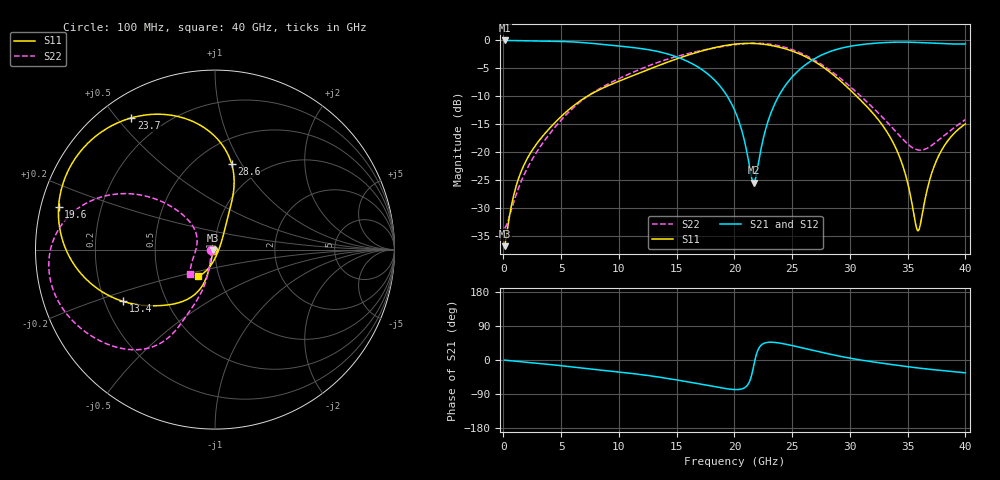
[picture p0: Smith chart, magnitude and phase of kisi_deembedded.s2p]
! B_s8_L1L3_stub_d300: kisi-fdtd, de-embedded with the 2×thru
# Hz S RI R 50
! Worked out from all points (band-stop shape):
!   400 points, 100 MHz to 40 GHz, reference 50 ohm
!   highest |S21| = -0.11 dB at 100 MHz (marker M1); lowest = -25.5 dB at 21.7 GHz (marker M2)
!   |S21| within 3 dB of the highest: start of sweep to 15.1 GHz; 27.16 GHz to end of sweep
!   lowest |S11| = -36.8 dB at 100 MHz (marker M3), VSWR 1.03, Z = 48.6 - j0.42 ohm
!   |S11| at or under -10 dB: start of sweep to 7.31 GHz; 30.56 GHz to end of sweep
!   |S22| runs from -33.6 to -0.6 dB; largest |S21 - S12| = 1.5e-06
!   S11 on the Smith chart (normalised r, x): 100 MHz: 0.97, -0.01; 13.4 GHz: 0.28, -0.24; 19.6 GHz: 0.05, +0.13; 23.7 GHz: 0.09, +0.55; 28.6 GHz: 0.73, +0.91; 40 GHz: 0.79, -0.24
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1e8  -0.0139 -0.00432  0.9873 -0.00542  0.9873 -0.00542  -0.0206 -0.00318
9e8  -0.0168 -0.0383  0.9841 -0.0482  0.9841 -0.0482  -0.022 -0.0287
2e9  -0.0259 -0.0813  0.9737 -0.1031  0.9737 -0.1031  -0.0266 -0.0643
4.2e9  -0.0513 -0.164  0.9479 -0.2086  0.9479 -0.2086  -0.043 -0.1484
6.8e9  -0.1299 -0.2625  0.882 -0.343  0.882 -0.343  -0.0952 -0.2724
1.34e10  -0.513 -0.2883  0.557 -0.554  0.557 -0.554  -0.3332 -0.5362
1.66e10  -0.755 -0.124  0.2867 -0.5187  0.2867 -0.5187  -0.5649 -0.5391
1.96e10  -0.8713 0.2389  0.0649 -0.2804  0.0649 -0.2804  -0.8072 -0.3812
2.01e10  -0.8608 0.3156  0.0465 -0.2203  0.0465 -0.2203  -0.8425 -0.337
2.07e10  -0.8324 0.4079  0.0362 -0.1432  0.0362 -0.1432  -0.879 -0.2769
2.17e10  -0.7464 0.5513  0.0523 -0.0102  0.0523 -0.0102  -0.9188 -0.1617
2.27e10  -0.6193 0.6645  0.1117 0.1138  0.1117 0.1138  -0.9231 -0.037
2.37e10  -0.4667 0.7338  0.208 0.2128  0.208 0.2128  -0.8877 0.0827
2.51e10  -0.2454 0.749  0.3804 0.2913  0.3804 0.2913  -0.7814 0.216
2.67e10  -0.0348 0.6611  0.5882 0.2897  0.5882 0.2897  -0.6122 0.2988
2.86e10  0.0933 0.4748  0.7857 0.1848  0.7857 0.1848  -0.4053 0.3024
3.34e10  0.0585 0.1278  0.9319 -0.1818  0.9319 -0.1818  -0.1219 0.1278
3.47e10  0.0396 0.0565  0.9155 -0.27  0.9155 -0.27  -0.1018 0.075
3.59e10  0.0184 -0.00724  0.884 -0.3405  0.884 -0.3405  -0.1012 0.0256
3.68e10  -0.00138 -0.0514  0.855 -0.3841  0.855 -0.3841  -0.1093 -0.0103
3.75e10  -0.0194 -0.082  0.8322 -0.4131  0.8322 -0.4131  -0.1182 -0.037
4e10  -0.0971 -0.1496  0.7639 -0.5115  0.7639 -0.5115  -0.1378 -0.1381
